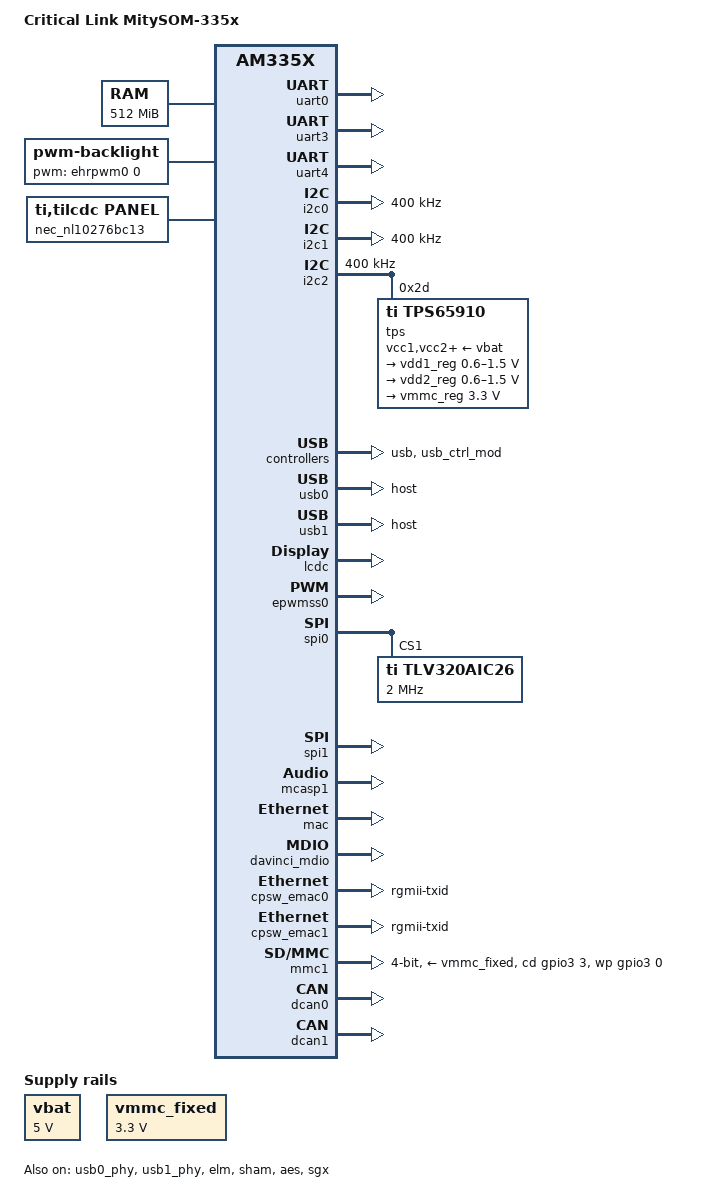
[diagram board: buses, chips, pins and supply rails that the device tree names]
/*
 * Copyright (C) 2012 Texas Instruments Incorporated - http://www.ti.com/
 *
 * This program is free software; you can redistribute it and/or modify
 * it under the terms of the GNU General Public License version 2 as
 * published by the Free Software Foundation.
 */

#include "am33xx.dtsi"
#include <dt-bindings/interrupt-controller/irq.h>

/ {
	model = "Critical Link MitySOM-335x";
	compatible = "ti,am33xx", "ti,am335x-evm";

	cpus {
		cpu@0 {
			cpu0-supply = <&vdd1_reg>;
		};
	};

	memory {
		device_type = "memory";
		reg = <0x80000000 0x20000000>; /* 512 MB */
	};

	vbat: fixedregulator@0 {
		compatible = "regulator-fixed";
		regulator-name = "vbat";
		regulator-min-microvolt = <5000000>;
		regulator-max-microvolt = <5000000>;
		regulator-boot-on;
	};

	vmmc_fixed: fixedregulator@1 {
		compatible = "regulator-fixed";
		regulator-name = "vmmc_fixed";
		regulator-min-microvolt = <3300000>;
		regulator-max-microvolt = <3300000>;
		regulator-boot-on;
	};

	/* JJC - Updated for MitySOM-335x Dev Kit */
	backlight {
		compatible = "pwm-backlight";
		pwms = <&ehrpwm0 0 50000 0>;
		brightness-levels = <0 51 53 56 62 75 101 152 255>;
		default-brightness-level = <8>;
	};

	/* LCD configuraton for the ThreeFive S9700RTWV35TR */
	threefive_s9700rtwv35tr: lcd-controller@0 {
		compatible = "ti,tilcdc,panel";
		status = "disabled";
		model = "threefive,s9700rtwv35tr";
		panel-info {
			ac-bias           = <255>;
			ac-bias-intrpt    = <0>;
			dma-burst-sz      = <16>;
			bpp               = <32>;
			fdd               = <0x80>;
			sync-edge         = <0>;
			sync-ctrl         = <1>;
			raster-order      = <0>;
			fifo-th           = <0>;
		};

		display-timings {
			800x480p62 {
				clock-frequency = <30000000>;
				hactive = <800>;
				vactive = <480>;
				hfront-porch = <39>;
				hback-porch = <39>;
				hsync-len = <47>;
				vback-porch = <29>;
				vfront-porch = <13>;
				vsync-len = <2>;
				hsync-active = <1>;
				vsync-active = <1>;
			};
		};
	};

	nec_nl10276bc13: lcd-controller@1 {
		compatible = "ti,tilcdc,panel";
		pinctrl-names = "default", "sleep";
		pinctrl-0 = <&lcd_pins_default>;
		pinctrl-1 = <&lcd_pins_sleep>;
		status = "ok";
		model = "nec,nl10276bc13";
		panel-info {
			ac-bias           = <255>;
			ac-bias-intrpt    = <0>;
			dma-burst-sz      = <16>;
			bpp               = <32>;
			fdd               = <0x80>;
			sync-edge         = <0>;
			sync-ctrl         = <1>;
			raster-order      = <0>;
			fifo-th           = <0>;
		};
		display-timings {
			1024x768 {
				clock-frequency = <65000000>;
				hactive = <1024>;
				vactive = <768>;
				hfront-porch = <24>;
				hback-porch = <160>;
				hsync-len = <136>;
				vback-porch = <29>;
				vfront-porch = <3>;
				vsync-len = <6>;
				hsync-active = <1>;
				vsync-active = <1>;
			};
		};
	};

	hdmi {
		compatible = "ti,tilcdc,tfp410";
		pinctrl-names = "default", "sleep";
		pinctrl-0 = <&lcd_pins_default>;
		pinctrl-1 = <&lcd_pins_sleep>;
		i2c = <&i2c1>;
		status = "disabled";

		panel-info {
			ac-bias           = <255>;
			ac-bias-intrpt    = <0>;
			dma-burst-sz      = <16>;
			bpp               = <32>;
			fdd               = <0x80>;
			sync-edge         = <0>;
			sync-ctrl         = <1>;
			raster-order      = <0>;
			fifo-th           = <0>;
		};
	};

	/* JJC - Updated for MitySOM-335x Dev Kit */
	sound {
		compatible = "simple-audio-card";
		simple-audio-card,name = "MitySOM-335x";
		simple-audio-card,format = "dsp_a";
		/* SND_SOC_DAIFMT_CBM_CFM */
		simple-audio-card,bitclock-master = <&tlv320aic26_codec>;
		simple-audio-card,frame-master = <&tlv320aic26_codec>;
		/* SND_SOC_DAIFMT_IB_NF */
		simple-audio-card,bitclock-inversion;

		simple-audio-card,cpu {
			sound-dai = <&mcasp1>;
			system-clock-frequency = <24576000>;
		};


		tlv320aic26_codec: simple-audio-card,codec {
			sound-dai = <&tlv320aic26>;
			system-clock-frequency = <24576000>;
		};
	};


};

&am33xx_pinmux {
	pinctrl-names = "default";
	pinctrl-0 = <&tsc_pin &unused_pin>;

	i2c0_pins_default: pinmux_i2c0_pins {
		pinctrl-single,pins = <
			0x188 (PIN_INPUT_PULLUP | MUX_MODE0)	/* i2c0_sda.i2c0_sda external pullup */
			0x18c (PIN_INPUT_PULLUP | MUX_MODE0)	/* i2c0_scl.i2c0_scl external pullup */
		>;
	};

	i2c0_pins_sleep: i2c0_pins_sleep {
		pinctrl-single,pins = <
			0x188 (PIN_INPUT_PULLUP | MUX_MODE0)	/* i2c0_sda.i2c0_sda external pullup */
			0x18c (PIN_INPUT_PULLUP | MUX_MODE0)	/* i2c0_scl.i2c0_scl external pullup */
		>;
	};

	i2c1_pins_default: pinmux_i2c1_pins {
		pinctrl-single,pins = <
			0x10C (PIN_INPUT_PULLUP | MUX_MODE3)	/* mii1_crs.i2c1_sda external pullup */
			0x110 (PIN_INPUT_PULLUP | MUX_MODE3)	/* mii1_rxerr.i2c1_scl external pullup */
		>;
	};

	i2c1_pins_sleep: i2c1_pins_sleep {
		pinctrl-single,pins = <
			0x10C (PIN_INPUT_PULLUP | MUX_MODE3)	/* mii1_crs.i2c1_sda external pullup */
			0x110 (PIN_INPUT_PULLUP | MUX_MODE3)	/* mii1_rxerr.i2c1_scl external pullup */
		>;
	};

	i2c2_pins_default: pinmux_i2c2_pins {
		pinctrl-single,pins = <
			0x178 (PIN_INPUT_PULLUP | MUX_MODE3)	/* uart1_ctsn.i2c2_sda external pullup */
			0x17C (PIN_INPUT_PULLUP | MUX_MODE3)	/* uart1_rtsn.i2c2_scl external pullup */
		>;
	};

	/* Leave pinmux alone since TPS lives on this bus */
	i2c2_pins_sleep: i2c2_pins_sleep {
		pinctrl-single,pins = <
			0x178 (PIN_INPUT_PULLUP | MUX_MODE3)	/* uart1_ctsn.i2c2_sda external pullup */
			0x17C (PIN_INPUT_PULLUP | MUX_MODE3)	/* uart1_rtsn.i2c2_scl external pullup */
		>;
	};


	uart0_pins: pinmux_uart0_pins {
		pinctrl-single,pins = <
			0x170 (PIN_INPUT_PULLUP | MUX_MODE0)	/* uart0_rxd.uart0_rxd */
			0x174 (PIN_OUTPUT_PULLDOWN | MUX_MODE0)	/* uart0_txd.uart0_txd */
		>;
	};

	/* EXPANSION 1 */
	uart3_pins_default: pinmux_uart3_pins {
		pinctrl-single,pins = <
			0x134 (PIN_INPUT_PULLUP | MUX_MODE1)	/* mii1_rxd3.uart3_rxd external pullup */
			0x138 (PIN_OUTPUT_PULLDOWN | MUX_MODE1)	/* mii1_rxd2.uart3_txd */
			0x12C (PIN_OUTPUT_PULLDOWN | MUX_MODE7)	/* mii1_tx_clk.gpio3_9 EXPANSION1_TX_ENB */
		>;
	};

	uart3_pins_sleep: uart3_pins_sleep {
		pinctrl-single,pins = <
			0x134 (PIN_INPUT_PULLUP | MUX_MODE1)	/* mii1_rxd3.uart3_rxd external pullup */
			0x138 (PIN_OUTPUT_PULLDOWN | MUX_MODE1)	/* mii1_rxd2.uart3_txd */
			0x12C (PIN_OUTPUT_PULLDOWN | MUX_MODE7)	/* mii1_tx_clk.gpio3_9 EXPANSION1_TX_ENB */
		>;
	};

	/* EXPANSION 0 */
	uart4_pins_default: pinmux_uart4_pins {
		pinctrl-single,pins = <
			0x168 (PIN_INPUT_PULLUP | MUX_MODE1)	/* uart0_ctsn.uart4_rxd external pullup */
			0x16C (PIN_OUTPUT_PULLDOWN | MUX_MODE1)	/* uart0_rtsn.uart4_txd */
			0x13C (PIN_OUTPUT_PULLDOWN | MUX_MODE7)	/* mii1_rxd1.gpio2_20 EXPANSION0_TX_ENB */
		>;
	};

	uart4_pins_sleep: uart4_pins_sleep {
		pinctrl-single,pins = <
			0x168 (PIN_INPUT_PULLUP | MUX_MODE1)	/* uart0_ctsn.uart4_rxd external pullup */
			0x16C (PIN_OUTPUT_PULLDOWN | MUX_MODE1)	/* uart0_rtsn.uart4_txd */
			0x13C (PIN_OUTPUT_PULLDOWN | MUX_MODE7)	/* mii1_rxd1.gpio2_20 EXPANSION0_TX_ENB */
		>;
	};

	/* JJC - Updated for MitySOM-335x Dev Kit */
	spi0_pins_default: pinmux_spi0_pins {
		pinctrl-single,pins = <
			0x150 (PIN_INPUT_PULLUP | MUX_MODE0)	/* spi0_sclk.spi0_sclk */
			0x154 (PIN_INPUT_PULLUP | MUX_MODE0)	/* spi0_d0.spi0_d0 MOSI */
			0x158 (PIN_INPUT_PULLDOWN | MUX_MODE0)	/* spi0_d1.spi0_d1 MISO */
			0x15c (PIN_OUTPUT_PULLUP | MUX_MODE0)	/* spi0_cs0.spi0_cs0 */
			0x160 (PIN_OUTPUT_PULLUP| MUX_MODE0)	/* spi0_cs1.spi0_cs1 external pullup */
		>;
	};

	/* JJC - Updated for MitySOM-335x Dev Kit */
	spi0_pins_sleep: pinmux_spi0_pins_sleep {
		pinctrl-single,pins = <
			0x150 (PIN_INPUT_PULLUP | MUX_MODE0)	/* spi0_sclk.spi0_sclk */
			0x154 (PIN_INPUT_PULLUP | MUX_MODE0)	/* spi0_d0.spi0_d0 MOSI */
			0x158 (PIN_INPUT_PULLDOWN | MUX_MODE0)	/* spi0_d1.spi0_d1 MISO */
			0x15c (PIN_OUTPUT_PULLUP | MUX_MODE0)	/* spi0_cs0.spi0_cs0 */
			0x160 (PIN_OUTPUT_PULLUP| MUX_MODE0)	/* spi0_cs1.spi0_cs1 external pullup */
		>;
	};

	/* RAD - Added for MitySOM-335x */
	spi1_pins_default: pinmux_spi1_pins {
		pinctrl-single,pins = <
			0x164 (PIN_INPUT_PULLUP | MUX_MODE4)  /* ecap0_in_pwm0_out.spi1_sclk */
			0x194 (PIN_INPUT_PULLUP | MUX_MODE3)  /* mcasp0_fsx.spi1_d0 MOSI */
			0x198 (PIN_INPUT_PULLDOWN | MUX_MODE3)  /* mcasp0_axr0.spi1_d1 MISO */
			0x19c (PIN_INPUT_PULLUP | MUX_MODE3)  /* mcasp0_ahclkr.spi1_cs0 */
		>;
	};
	/* JJC - Updated for MitySOM-335x Dev Kit */
	spi1_pins_sleep: pinmux_spi1_pins_sleep {
		pinctrl-single,pins = <
			0x164 (PIN_INPUT_PULLUP | MUX_MODE4)  /* ecap0_in_pwm0_out.spi1_sclk */
			0x194 (PIN_INPUT_PULLUP | MUX_MODE3)  /* mcasp0_fsx.spi1_d0 MOSI */
			0x198 (PIN_INPUT_PULLDOWN | MUX_MODE3)  /* mcasp0_axr0.spi1_d1 MISO */
			0x19c (PIN_INPUT_PULLUP | MUX_MODE3)  /* mcasp0_ahclkr.spi1_cs0 */
		>;
	};
	
	/* RAD - Updated for MitySOM-335x */
	nandflash_pins_default: nandflash_pins_default {
		pinctrl-single,pins = <
			0x000 (PIN_INPUT_PULLUP | MUX_MODE0)	/* gpmc_ad0.gpmc_ad0 */
			0x004 (PIN_INPUT_PULLUP | MUX_MODE0)	/* gpmc_ad1.gpmc_ad1 */
			0x008 (PIN_INPUT_PULLUP | MUX_MODE0)	/* gpmc_ad2.gpmc_ad2 */
			0x00c (PIN_INPUT_PULLUP | MUX_MODE0)	/* gpmc_ad3.gpmc_ad3 */
			0x010 (PIN_INPUT_PULLUP | MUX_MODE0)	/* gpmc_ad4.gpmc_ad4 */
			0x014 (PIN_INPUT_PULLUP | MUX_MODE0)	/* gpmc_ad5.gpmc_ad5 */
			0x018 (PIN_INPUT_PULLUP | MUX_MODE0)	/* gpmc_ad6.gpmc_ad6 */
			0x01c (PIN_INPUT_PULLUP | MUX_MODE0)	/* gpmc_ad7.gpmc_ad7 */
			0x070 (PIN_INPUT_PULLUP | MUX_MODE0)	/* gpmc_wait0.gpmc_wait0 external pullup */
			0x074 (PIN_INPUT_PULLUP | MUX_MODE0)	/* gpmc_wpn.gpmc_wpn external pullup */
			0x07c (PIN_OUTPUT | MUX_MODE0)		/* gpmc_csn0.gpmc_csn0  */
			0x090 (PIN_OUTPUT | MUX_MODE0)		/* gpmc_advn_ale.gpmc_advn_ale */
			0x094 (PIN_OUTPUT | MUX_MODE0)		/* gpmc_oen_ren.gpmc_oen_ren */
			0x098 (PIN_OUTPUT | MUX_MODE0)		/* gpmc_wen.gpmc_wen */
			0x09c (PIN_OUTPUT | MUX_MODE0)		/* gpmc_be0_cle.gpmc_be0_cle */
		>;
	};

	/* RAD - Updated for MitySOM-335x */
	nandflash_pins_sleep: nandflash_pins_sleep {
		pinctrl-single,pins = <
			0x000 (PIN_INPUT_PULLUP | MUX_MODE0)	/* gpmc_ad0.gpmc_ad0 */
			0x004 (PIN_INPUT_PULLUP | MUX_MODE0)	/* gpmc_ad1.gpmc_ad1 */
			0x008 (PIN_INPUT_PULLUP | MUX_MODE0)	/* gpmc_ad2.gpmc_ad2 */
			0x00c (PIN_INPUT_PULLUP | MUX_MODE0)	/* gpmc_ad3.gpmc_ad3 */
			0x010 (PIN_INPUT_PULLUP | MUX_MODE0)	/* gpmc_ad4.gpmc_ad4 */
			0x014 (PIN_INPUT_PULLUP | MUX_MODE0)	/* gpmc_ad5.gpmc_ad5 */
			0x018 (PIN_INPUT_PULLUP | MUX_MODE0)	/* gpmc_ad6.gpmc_ad6 */
			0x01c (PIN_INPUT_PULLUP | MUX_MODE0)	/* gpmc_ad7.gpmc_ad7 */
			0x070 (PIN_INPUT_PULLUP | MUX_MODE0)	/* gpmc_wait0.gpmc_wait0 external pullup */
			0x074 (PIN_INPUT_PULLUP | MUX_MODE0)	/* gpmc_wpn.gpmc_wpn external pullup */
			0x07c (PIN_OUTPUT | MUX_MODE0)		/* gpmc_csn0.gpmc_csn0  */
			0x090 (PIN_OUTPUT | MUX_MODE0)		/* gpmc_advn_ale.gpmc_advn_ale */
			0x094 (PIN_OUTPUT | MUX_MODE0)		/* gpmc_oen_ren.gpmc_oen_ren */
			0x098 (PIN_OUTPUT | MUX_MODE0)		/* gpmc_wen.gpmc_wen */
			0x09c (PIN_OUTPUT | MUX_MODE0)		/* gpmc_be0_cle.gpmc_be0_cle */
		>;
	};

	/* JJC - Updated for MitySOM-335x Dev Kit */
	ehrpwm0_pins_default: backlight_pins {
		pinctrl-single,pins = <
			0x190 (PIN_OUTPUT | MUX_MODE1)		/* mcasp0_aclkx.ehrpwm0a */
		>;
	};

	/* JJC - Updated for MitySOM-335x Dev Kit */
	ehrpwm0_pins_sleep: backlight_pins_sleep {
		pinctrl-single,pins = <
			0x190 (PIN_OUTPUT | MUX_MODE1)		/* mcasp0_aclkx.ehrpwm0a */
		>;
	};

	/* RAD - updated for MitySOM-335x */
	cpsw_default: cpsw_default {
		pinctrl-single,pins = <
			0x040 (PIN_OUTPUT | MUX_MODE2)		/* gpmc_a0.rgmii2_tctl */
			0x044 (PIN_INPUT_PULLDOWN | MUX_MODE2)	/* gpmc_a1.rgmii2_rctl external pulldown */
			0x048 (PIN_OUTPUT | MUX_MODE2)		/* gpmc_a2.rgmii2_td3  */
			0x04C (PIN_OUTPUT | MUX_MODE2)		/* gpmc_a3.rgmii2_td2  */
			0x050 (PIN_OUTPUT | MUX_MODE2)		/* gpmc_a4.rgmii2_td1  */
			0x054 (PIN_OUTPUT | MUX_MODE2)		/* gpmc_a5.rgmii2_td0  */
			0x058 (PIN_OUTPUT | MUX_MODE2)		/* gpmc_a6.rgmii2_tclk */
			0x05C (PIN_INPUT_PULLDOWN | MUX_MODE2)	/* gpmc_a7.rgmii2_rclk external pulldown */
			0x060 (PIN_INPUT_PULLDOWN | MUX_MODE2)	/* gpmc_a8.rgmii2_rd3 external pullup  */
			0x064 (PIN_INPUT_PULLDOWN | MUX_MODE2)	/* gpmc_a9.rgmii2_rd2 external pullup  */
			0x068 (PIN_INPUT_PULLDOWN | MUX_MODE2)	/* gpmc_a10.rgmii2_rd1 external pullup */
			0x06C (PIN_INPUT_PULLDOWN | MUX_MODE2)	/* gpmc_a11.rgmii2_rd0 external pullup */
		>;
	};


	/* RAD - updated for MitySOM-335x */
	cpsw_sleep: cpsw_sleep {
		pinctrl-single,pins = <
			/* Slave 1 reset value */
			0x040 (PIN_OUTPUT | MUX_MODE2)		/* gpmc_a0.rgmii2_tctl */
			0x044 (PIN_INPUT_PULLDOWN | MUX_MODE2)	/* gpmc_a1.rgmii2_rctl external pulldown */
			0x048 (PIN_OUTPUT | MUX_MODE2)		/* gpmc_a2.rgmii2_td3  */
			0x04C (PIN_OUTPUT | MUX_MODE2)		/* gpmc_a3.rgmii2_td2  */
			0x050 (PIN_OUTPUT | MUX_MODE2)		/* gpmc_a4.rgmii2_td1  */
			0x054 (PIN_OUTPUT | MUX_MODE2)		/* gpmc_a5.rgmii2_td0  */
			0x058 (PIN_OUTPUT | MUX_MODE2)		/* gpmc_a6.rgmii2_tclk */
			0x05C (PIN_INPUT_PULLDOWN | MUX_MODE2)	/* gpmc_a7.rgmii2_rclk external pulldown */
			0x060 (PIN_INPUT_PULLDOWN | MUX_MODE2)	/* gpmc_a8.rgmii2_rd3 external pullup  */
			0x064 (PIN_INPUT_PULLDOWN | MUX_MODE2)	/* gpmc_a9.rgmii2_rd2 external pullup  */
			0x068 (PIN_INPUT_PULLDOWN | MUX_MODE2)	/* gpmc_a10.rgmii2_rd1 external pullup */
			0x06C (PIN_INPUT_PULLDOWN | MUX_MODE2)	/* gpmc_a11.rgmii2_rd0 external pullup */
		>;
	};

	/* RAD - updated for MitySOM-335x */
	davinci_mdio_default: davinci_mdio_default {
		pinctrl-single,pins = <
			0x148 (PIN_INPUT_PULLUP | SLEWCTRL_FAST | MUX_MODE0)	/* mdio_data.mdio_data external pullup */
			0x14c (PIN_OUTPUT_PULLUP | MUX_MODE0)	/* mdio_clk.mdio_clk external pullup */
		>;
	};

	/* RAD -updated for MitySOM-335x */
	davinci_mdio_sleep: davinci_mdio_sleep {
		pinctrl-single,pins = <
			0x148 (PIN_INPUT_PULLUP | SLEWCTRL_FAST | MUX_MODE0)	/* mdio_data.mdio_data external pullup */
			0x14c (PIN_OUTPUT_PULLUP | MUX_MODE0)	/* mdio_clk.mdio_clk external pullup */
		>;
	};

	/* RAD - Setup for MitySOM-335x Dev Board MMC0 */
	mmc1_pins_default: pinmux_mmc1_pins {
		pinctrl-single,pins = <
			0x0F0 (PIN_INPUT_PULLUP | MUX_MODE0)	/* mmc0_dat3.mmc0_dat3 */
			0x0F4 (PIN_INPUT_PULLUP | MUX_MODE0)	/* mmc0_dat2.mmc0_dat2 */
			0x0F8 (PIN_INPUT_PULLUP | MUX_MODE0)	/* mmc0_dat1.mmc0_dat1 */
			0x0FC (PIN_INPUT_PULLUP | MUX_MODE0)	/* mmc0_dat0.mmc0_dat0 */
			0x100 (PIN_INPUT_PULLUP | MUX_MODE0)	/* mmc0_clk.mmc0_clk */
			0x104 (PIN_INPUT_PULLUP | MUX_MODE0)	/* mmc0_cmd.mmc0_cmd */
			0x114 (PIN_INPUT | MUX_MODE7)			/* mii1_txen.gpio3_3 CD external pullup */
			0x108 (PIN_INPUT | MUX_MODE7)			/* mii1_col.gpio3_0 WP external pullup */
		>;
	};

	mmc1_pins_sleep: pinmux_mmc1_pins_sleep {
		pinctrl-single,pins = <
			0x0F0 (PIN_INPUT_PULLUP | MUX_MODE0)	/* mmc0_dat3.mmc0_dat3 */
			0x0F4 (PIN_INPUT_PULLUP | MUX_MODE0)	/* mmc0_dat2.mmc0_dat2 */
			0x0F8 (PIN_INPUT_PULLUP | MUX_MODE0)	/* mmc0_dat1.mmc0_dat1 */
			0x0FC (PIN_INPUT_PULLUP | MUX_MODE0)	/* mmc0_dat0.mmc0_dat0 */
			0x100 (PIN_INPUT_PULLUP | MUX_MODE0)	/* mmc0_clk.mmc0_clk */
			0x104 (PIN_INPUT_PULLUP | MUX_MODE0)	/* mmc0_cmd.mmc0_cmd */
			0x114 (PIN_INPUT | MUX_MODE7)			/* mii1_txen.gpio3_3 CD external pullup */
			0x108 (PIN_INPUT | MUX_MODE7)			/* mii1_col.gpio3_0 WP external pullup */
		>;
	};

	/* RAD - Updated for MitySOM-335x Dev Kit */
	lcd_pins_default: lcd_pins_default {
		pinctrl-single,pins = <
			0xa0 (PIN_OUTPUT | MUX_MODE0)	/* lcd_data0.lcd_data0 */
			0xa4 (PIN_OUTPUT | MUX_MODE0)	/* lcd_data1.lcd_data1 */
			0xa8 (PIN_OUTPUT | MUX_MODE0)	/* lcd_data2.lcd_data2 */
			0xac (PIN_OUTPUT | MUX_MODE0)	/* lcd_data3.lcd_data3 */
			0xb0 (PIN_OUTPUT | MUX_MODE0)	/* lcd_data4.lcd_data4 */
			0xb4 (PIN_OUTPUT | MUX_MODE0)	/* lcd_data5.lcd_data5 */
			0xb8 (PIN_OUTPUT | MUX_MODE0)	/* lcd_data6.lcd_data6 */
			0xbc (PIN_OUTPUT | MUX_MODE0)	/* lcd_data7.lcd_data7 */
			0xc0 (PIN_OUTPUT | MUX_MODE0)	/* lcd_data8.lcd_data8 */
			0xc4 (PIN_OUTPUT | MUX_MODE0)	/* lcd_data9.lcd_data9 */
			0xc8 (PIN_OUTPUT | MUX_MODE0)	/* lcd_data10.lcd_data10 */
			0xcc (PIN_OUTPUT | MUX_MODE0)	/* lcd_data11.lcd_data11 */
			0xd0 (PIN_OUTPUT | MUX_MODE0)	/* lcd_data12.lcd_data12 */
			0xd4 (PIN_OUTPUT | MUX_MODE0)	/* lcd_data13.lcd_data13 */
			0xd8 (PIN_OUTPUT | MUX_MODE0)	/* lcd_data14.lcd_data14 */
			0xdc (PIN_OUTPUT | MUX_MODE0)	/* lcd_data15.lcd_data15 */
			0xe0 (PIN_OUTPUT | MUX_MODE0)	/* lcd_vsync.lcd_vsync */
			0xe4 (PIN_OUTPUT | MUX_MODE0)	/* lcd_hsync.lcd_hsync */
			0xe8 (PIN_OUTPUT | MUX_MODE0)	/* lcd_pclk.lcd_pclk */
			0xec (PIN_OUTPUT | MUX_MODE0)	/* lcd_ac_bias_en.lcd_ac_bias_en */
		>;
	};

	/* RAD - Updated for MitySOM-335x Dev Kit */
	lcd_pins_sleep: lcd_pins_sleep {
		pinctrl-single,pins = <
			/* Data pulldown's removed to save 9mW */
			0xa0 (PIN_OUTPUT | MUX_MODE0)	/* lcd_data0.lcd_data0 */
			0xa4 (PIN_OUTPUT | MUX_MODE0)	/* lcd_data1.lcd_data1 */
			0xa8 (PIN_OUTPUT | MUX_MODE0)	/* lcd_data2.lcd_data2 */
			0xac (PIN_OUTPUT | MUX_MODE0)	/* lcd_data3.lcd_data3 */
			0xb0 (PIN_OUTPUT | MUX_MODE0)	/* lcd_data4.lcd_data4 */
			0xb4 (PIN_OUTPUT | MUX_MODE0)	/* lcd_data5.lcd_data5 */
			0xb8 (PIN_OUTPUT | MUX_MODE0)	/* lcd_data6.lcd_data6 */
			0xbc (PIN_OUTPUT | MUX_MODE0)	/* lcd_data7.lcd_data7 */
			0xc0 (PIN_OUTPUT | MUX_MODE0)	/* lcd_data8.lcd_data8 */
			0xc4 (PIN_OUTPUT | MUX_MODE0)	/* lcd_data9.lcd_data9 */
			0xc8 (PIN_OUTPUT | MUX_MODE0)	/* lcd_data10.lcd_data10 */
			0xcc (PIN_OUTPUT | MUX_MODE0)	/* lcd_data11.lcd_data11 */
			0xd0 (PIN_OUTPUT | MUX_MODE0)	/* lcd_data12.lcd_data12 */
			0xd4 (PIN_OUTPUT | MUX_MODE0)	/* lcd_data13.lcd_data13 */
			0xd8 (PIN_OUTPUT | MUX_MODE0)	/* lcd_data14.lcd_data14 */
			0xdc (PIN_OUTPUT | MUX_MODE0)	/* lcd_data15.lcd_data15 */
			0xe0 (PIN_OUTPUT | MUX_MODE0)	/* lcd_vsync.lcd_vsync */
			0xe4 (PIN_OUTPUT | MUX_MODE0)	/* lcd_hsync.lcd_hsync */
			0xe8 (PIN_OUTPUT | MUX_MODE0)	/* lcd_pclk.lcd_pclk */
			0xec (PIN_OUTPUT | MUX_MODE0)	/* lcd_ac_bias_en.lcd_ac_bias_en */
		>;
	};

	/* JJC - Updated for MitySOM-335x Dev Kit */
	am335x_evm_audio_pins: am335x_evm_audio_pins {
		pinctrl-single,pins = <
			0x1A0 (PIN_INPUT_PULLDOWN | MUX_MODE3) /* mcasp0_aclkr.mcasp1_aclkx */
			0x1A4 (PIN_INPUT_PULLDOWN | MUX_MODE3) /* mcasp0_fsr.mcasp1_fsx */
			0x1A8 (PIN_OUTPUT_PULLDOWN | MUX_MODE3) /* mcasp0_axr1.mcasp1_axr0 */
			0x1AC (PIN_INPUT_PULLDOWN | MUX_MODE3) /* mcasp0_ahclkx.mcasp1_axr1 */
			0x140 (PIN_INPUT_PULLDOWN | MUX_MODE4) /* mii1_rxd0.mcasp1_ahclkr */
			0x144 (PIN_INPUT_PULLDOWN | MUX_MODE6) /* rmii1_refclk.mcasp1_ahclkx */
		>;
	};

	/* JJC - Updated for MitySOM-335x Dev Kit */
	am335x_evm_audio_pins_sleep: am335x_evm_audio_pins_sleep {
		pinctrl-single,pins = <
			0x1A0 (PIN_INPUT_PULLDOWN | MUX_MODE3) /* mcasp0_aclkr.mcasp1_aclkx */
			0x1A4 (PIN_INPUT_PULLDOWN | MUX_MODE3) /* mcasp0_fsr.mcasp1_fsx */
			0x1A8 (PIN_OUTPUT_PULLDOWN | MUX_MODE3) /* mcasp0_axr1.mcasp1_axr0 */
			0x1AC (PIN_INPUT_PULLDOWN | MUX_MODE3) /* mcasp0_ahclkx.mcasp1_axr1 */
			0x140 (PIN_INPUT_PULLDOWN | MUX_MODE4) /* mii1_rxd0.mcasp1_ahclkr */
			0x144 (PIN_INPUT_PULLDOWN | MUX_MODE6) /* rmii1_refclk.mcasp1_ahclkx */
		>;
	};

	dcan0_pins_default: dcan0_pins_default {
		pinctrl-single,pins = <
			0x11C (PIN_OUTPUT | MUX_MODE1) /* mii1_txd3.d_can0_tx */
			0x120 (PIN_INPUT_PULLDOWN | MUX_MODE1) /* mii1_txd2.d_can1_rxd */
		>;
	};

	dcan0_pins_sleep: dcan0_pins_sleep {
		pinctrl-single,pins = <
			0x11C (PIN_OUTPUT | MUX_MODE1) /* mii1_txd3.d_can0_tx */
			0x120 (PIN_INPUT_PULLDOWN | MUX_MODE1) /* mii1_txd2.d_can1_rxd */
		>;
	};

	dcan1_pins_default: dcan1_pins_default {
		pinctrl-single,pins = <
			0x180 (PIN_OUTPUT | MUX_MODE2) /* uart1_rxd.dcan1_txd */
			0x184 (PIN_INPUT_PULLDOWN | MUX_MODE2) /* uart1_txd.dcan1_rxd */
		>;
	};

	dcan1_pins_sleep: dcan1_pins_sleep {
		pinctrl-single,pins = <
			0x180 (PIN_OUTPUT | MUX_MODE2) /* uart1_rxd.dcan1_txd */
			0x184 (PIN_INPUT_PULLDOWN | MUX_MODE2) /* uart1_txd.dcan1_rxd */
		>;
	};

	/* Pinmux unused pins to reduce processor power leakage */
	tsc_pin: pinmux_tsc_pin {
		pinctrl-single,pins = <
			0x1b0 (PIN_OUTPUT | MUX_MODE7)			/* xdma_event_intr0.gpio0_19 TS_BUSY */
			0x1b4 (PIN_OUTPUT | MUX_MODE7)			/* xdma_event_intr1.gpio0_20 TS_IRQ_N */
		>;
	};

	/* Pinmux unused pins to reduce processor power leakage */
	unused_pin: pinmux_unused_pin {
		pinctrl-single,pins = <
			/* Not used so set to gpio to reduce power usage - pins on J700 header */
			0x020 (PIN_OUTPUT | MUX_MODE7)	/* gpmc_ad8.gpio0_22 */
			0x024 (PIN_OUTPUT | MUX_MODE7)	/* gpmc_ad9.gpio0_23 */
			0x028 (PIN_OUTPUT | MUX_MODE7)	/* gpmc_ad10.gpio0_26 */
			0x02c (PIN_OUTPUT | MUX_MODE7)	/* gpmc_ad11.gpio0_27 */
			0x030 (PIN_INPUT_PULLDOWN | MUX_MODE7)	/* gpmc_ad12.gpio1_12 */
			0x034 (PIN_INPUT_PULLDOWN | MUX_MODE7)	/* gpmc_ad13.gpio1_13 */
			0x038 (PIN_INPUT_PULLDOWN | MUX_MODE7)	/* gpmc_ad14.gpio1_14 */
			0x03c (PIN_INPUT_PULLDOWN | MUX_MODE7)	/* gpmc_ad15.gpio1_15 */
			0x078 (PIN_INPUT_PULLDOWN | MUX_MODE7)	/* gpmc_ben1.gpio1_28 */
			0x080 (PIN_INPUT_PULLDOWN | MUX_MODE7)	/* gpmc_csn1.gpio1_30 */
			0x084 (PIN_INPUT_PULLDOWN | MUX_MODE7)	/* gpmc_csn2.gpio1_31 */
			0x088 (PIN_INPUT_PULLDOWN | MUX_MODE7)	/* gpmc_csn3.gpio2_0 */
			0x08c (PIN_INPUT_PULLDOWN | MUX_MODE7)	/* gpmc_clk.gpio2_1 */
			0x118 (PIN_INPUT_PULLDOWN | MUX_MODE7)	/* gmii1_rxdv.gpio3_4 GPIO3_4 */
			/* Unused MCASP1 pins. Pinmuxes are set to ensure they become inputs in sleep mode */
			0x124 (PIN_INPUT | MUX_MODE3)	/* gmii1_txd1.fsr MCASP1_FSR */
			0x128 (PIN_INPUT | MUX_MODE4)	/* gmii1_txd0.aclkr MCASP1_ACLKX */
			/* RGMII_RESETN needs to remain pulled high to prevent reset of phy */
			0x130 (PIN_OUTPUT_PULLUP | MUX_MODE7)	/* gmii1_rxclk.gpio3_10 RGMII_RESETN */
		>;
	};
};


&uart0 {
	pinctrl-names = "default";
	pinctrl-0 = <&uart0_pins>;

	status = "okay";
};

&uart3 {
	pinctrl-names = "default", "sleep";
	pinctrl-0 = <&uart3_pins_default>;
	pinctrl-1 = <&uart3_pins_sleep>;

	rts-gpio = <&gpio3 9 GPIO_ACTIVE_HIGH>;
	rs485-rts-delay =<0 0>;
	rs485-rts-active-high;
	/*rs485-rx-during-tx;*/
	linux,rs485-enabled-at-boot-time;
	status = "okay";
};

&uart4 {
	pinctrl-names = "default", "sleep";
	pinctrl-0 = <&uart4_pins_default>;
	pinctrl-1 = <&uart4_pins_sleep>;

	rts-gpio = <&gpio2 20 GPIO_ACTIVE_HIGH>;
	rs485-rts-delay =<0 0>;
	rs485-rts-active-high;
	/*rs485-rx-during-tx;*/
	linux,rs485-enabled-at-boot-time;
	status = "okay";
};



&i2c0 {
	pinctrl-names = "default", "sleep";
	pinctrl-0 = <&i2c0_pins_default>;
	pinctrl-1 = <&i2c0_pins_sleep>;

	status = "okay";
	clock-frequency = <400000>;

};

&i2c1 {
	pinctrl-names = "default", "sleep";
	pinctrl-0 = <&i2c1_pins_default>;
	pinctrl-1 = <&i2c1_pins_sleep>;


	status = "okay";
	clock-frequency = <400000>;

};


&i2c2 {
	pinctrl-names = "default", "sleep";
	pinctrl-0 = <&i2c2_pins_default>;
	pinctrl-1 = <&i2c2_pins_sleep>;

	status = "okay";
	clock-frequency = <400000>;

	tps: tps@2d {
		compatible = "ti,tps65910";
		reg = <0x2d>;
	};

};



&usb {
	status = "okay";
};

&usb_ctrl_mod {
	status = "okay";
};

&usb0_phy {
	status = "okay";
};

&usb1_phy {
	status = "okay";
};

&usb0 {
	status = "okay";
	/* Set device mode */
	/* See: Documentation/devicetree/bindings/usb/am33xx-usb.txt */
	/* Set to "otg" for OTG */
	dr_mode = "host";
};

&usb1 {
	status = "okay";
	/* Set device mode */
	/* See: Documentation/devicetree/bindings/usb/am33xx-usb.txt */
	/* Set to "otg" for OTG */
	dr_mode = "host";
};

&cppi41dma  {
	status = "okay";
};

&lcdc {
	status = "okay";
};

&elm {
	status = "okay";
};

&epwmss0 {
	status = "okay";

	ehrpwm0: pwm@48300200 {
		status = "okay";
		pinctrl-names = "default", "sleep";
		pinctrl-0 = <&ehrpwm0_pins_default>;
		pinctrl-1 = <&ehrpwm0_pins_sleep>;
	};
};

/* JJC - Updated for MitySOM-335x Dev Kit */
&spi0 {
	pinctrl-names = "default", "sleep";
	pinctrl-0 = <&spi0_pins_default>;
	pinctrl-1 = <&spi0_pins_sleep>;

	status = "okay";
	ti,pindir-d0-out-d1-in = <1>;

	tlv320aic26: tlv320aic26@1 {
		#sound-dai-cells = <0>;
		compatible = "ti,tlv320aic26";
		reg = <0x1>;
		status = "okay";

		spi-max-frequency = <2000000>;
		spi-cpha;
	};
};

&spi1 {
	pinctrl-names = "default", "sleep";
	pinctrl-0 = <&spi1_pins_default>;
	pinctrl-1 = <&spi1_pins_sleep>;
	
	status = "okay";
	ti,pindir-d0-out-d1-in = <1>;
	/* AMK - Moved NOR definition into its own file. See am335x-mitysom-NOR.dtsi */
};
	
&gpmc {
	status = "disabled";
	/* AMK - Moved partitions and NAND configuration into separate files. See am335x-mitysom-[256M|512M|1G].dtsi */
};



#include "tps65910.dtsi"


/* JJC - Updated for MitySOM-335x Dev Kit */
&mcasp1 {
	#sound-dai-cells = <0>;
	pinctrl-names = "default", "sleep";
	pinctrl-0 = <&am335x_evm_audio_pins>;
	pinctrl-1 = <&am335x_evm_audio_pins_sleep>;

	status = "okay";

	op-mode = <0>; /* MCASP_IIS_MODE */
	tdm-slots = <2>;
	/* 4 serializers */
	serial-dir = <  /* 0: INACTIVE, 1: TX, 2: RX */
		1 2 0 0
	>;
	tx-num-evt = <32>;
	rx-num-evt = <32>;
};


&tps {
	vcc1-supply = <&vbat>;
	vcc2-supply = <&vbat>;
	vcc3-supply = <&vbat>;
	vcc4-supply = <&vbat>;
	vcc5-supply = <&vbat>;
	vcc6-supply = <&vbat>;
	vcc7-supply = <&vbat>;
	vccio-supply = <&vbat>;

	regulators {
		vrtc_reg: regulator@0 {
			regulator-always-on;
		};

		vio_reg: regulator@1 {
			regulator-always-on;
		};

		vdd1_reg: regulator@2 {
			/* from board-mityarm335x.c */
			regulator-name = "vdd_mpu";
			regulator-min-microvolt = <600000>;
			regulator-max-microvolt = <1500000>;
			regulator-boot-on;
			regulator-always-on;
		};

		vdd2_reg: regulator@3 {
			/* from board-mityarm335x.c */
			regulator-name = "vdd_core";
			regulator-min-microvolt = <600000>;
			regulator-max-microvolt = <1500000>;
			regulator-boot-on;
			regulator-always-on;
		};

		vdd3_reg: regulator@4 {
			regulator-always-on;
		};

		vdig1_reg: regulator@5 {
			regulator-always-on;
		};

		vdig2_reg: regulator@6 {
			regulator-always-on;
		};

		vpll_reg: regulator@7 {
			regulator-always-on;
		};

		vdac_reg: regulator@8 {
			regulator-always-on;
		};

		vaux1_reg: regulator@9 {
			regulator-always-on;
		};

		vaux2_reg: regulator@10 {
			regulator-always-on;
		};

		vaux33_reg: regulator@11 {
			regulator-always-on;
		};

		vmmc_reg: regulator@12 {
			regulator-name = "vmmc_33";
			regulator-min-microvolt = <3300000>;
			regulator-max-microvolt = <3300000>;
			regulator-boot-on;
			regulator-always-on;
		};
	};
};

&mac {
	pinctrl-names = "default", "sleep";
	pinctrl-0 = <&cpsw_default>;
	pinctrl-1 = <&cpsw_sleep>;
	status = "okay";
};

&davinci_mdio {
	pinctrl-names = "default", "sleep";
	pinctrl-0 = <&davinci_mdio_default>;
	pinctrl-1 = <&davinci_mdio_sleep>;
	status = "okay";
};

&cpsw_emac0 {
	phy_id = <&davinci_mdio>, <1>;
	phy-mode = "rgmii-txid";
};


&cpsw_emac1 {
	phy_id = <&davinci_mdio>, <2>;
	phy-mode = "rgmii-txid";
};



/*
&tscadc {
	status = "okay";
	tsc {
		ti,wires = <4>;
		ti,x-plate-resistance = <200>;
		ti,coordinate-readouts = <5>;
		ti,wire-config = <0x00 0x11 0x22 0x33>;
		ti,charge-delay = <0x400>;
	};

	adc {
		ti,adc-channels = <4 5 6 7>;
	};
};
*/
&mmc1 {
	status = "okay";
	vmmc-supply = <&vmmc_fixed>;
	bus-width = <4>;
	pinctrl-names = "default", "sleep";
	pinctrl-0 = <&mmc1_pins_default>;
	pinctrl-1 = <&mmc1_pins_sleep>;
	cd-gpios = <&gpio3 3 GPIO_ACTIVE_HIGH>;
	/*cd-inverted;*/
	wp-gpios = <&gpio3 0 GPIO_ACTIVE_HIGH>;
};


&edma {
	ti,edma-xbar-event-map = /bits/ 16 <1 12
					    2 13>;
};


&sham {
	status = "okay";
};

&aes {
	status = "okay";
};

&wkup_m3_ipc {
	ti,scale-data-fw = "am335x-evm-scale-data.bin";
};


&dcan0 {
	status = "okay";	
	pinctrl-names = "default", "sleep";
	pinctrl-0 = <&dcan0_pins_default>; 
	pinctrl-1 = <&dcan0_pins_sleep>;
};

&dcan1 { 
	status = "okay";	
	pinctrl-names = "default", "sleep";
	pinctrl-0 = <&dcan1_pins_default>; 
	pinctrl-1 = <&dcan1_pins_sleep>;
}; 

&rtc {
	system-power-controller;
};

&sgx {
	status = "okay";
};
